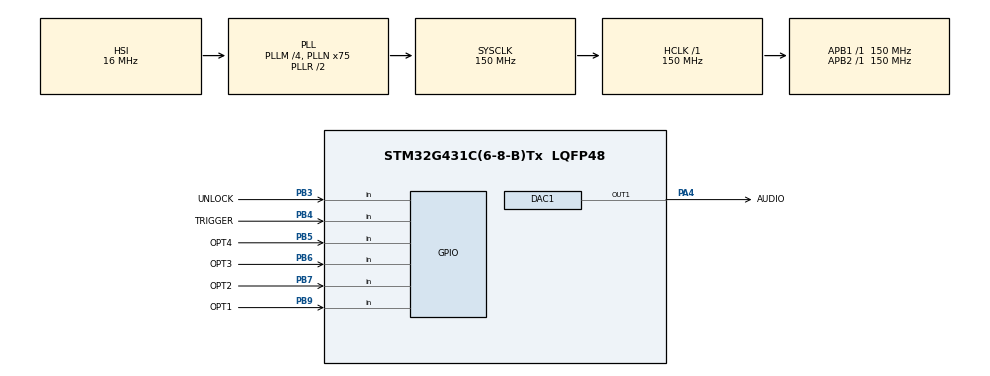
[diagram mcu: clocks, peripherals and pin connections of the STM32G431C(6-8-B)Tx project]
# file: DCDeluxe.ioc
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DAC1.DAC_OutputBuffer-DAC_OUT1=DAC_OUTPUTBUFFER_DISABLE
Mcu.Family=STM32G4
Mcu.Name=STM32G431C(6-8-B)Tx
Mcu.Package=LQFP48
NVIC.PriorityGroup=NVIC_PRIORITYGROUP_4
NVIC.TIM3_IRQn=true\:0\:0\:false\:false\:true\:true\:true\:true
PA13.Mode=Serial_Wire
PA13.Signal=SYS_JTMS-SWDIO
PA14.Mode=Serial_Wire
PA14.Signal=SYS_JTCK-SWCLK
PA4.GPIO_Label=AUDIO
PA4.Signal=COMP_DAC11_group
PB3.GPIO_Label=UNLOCK
PB3.GPIO_PuPd=GPIO_PULLDOWN
PB3.Signal=GPIO_Input
PB4.GPIO_Label=TRIGGER
PB4.GPIO_PuPd=GPIO_PULLDOWN
PB4.Signal=GPIO_Input
PB5.GPIO_Label=OPT4
PB5.GPIO_PuPd=GPIO_PULLDOWN
PB5.Signal=GPIO_Input
PB6.GPIO_Label=OPT3
PB6.GPIO_PuPd=GPIO_PULLDOWN
PB6.Signal=GPIO_Input
PB7.GPIO_Label=OPT2
PB7.GPIO_PuPd=GPIO_PULLDOWN
PB7.Signal=GPIO_Input
PB9.GPIO_Label=OPT1
PB9.GPIO_PuPd=GPIO_PULLDOWN
PB9.Signal=GPIO_Input
ProjectManager.HeapSize=0x200
ProjectManager.StackSize=0x400
ProjectManager.TargetToolchain=EWARM V8.50
RCC.ADC12Freq_Value=150000000
RCC.AHBFreq_Value=150000000
RCC.APB1Freq_Value=150000000
RCC.APB1TimFreq_Value=150000000
RCC.APB2Freq_Value=150000000
RCC.APB2TimFreq_Value=150000000
RCC.CortexFreq_Value=150000000
RCC.EXTERNAL_CLOCK_VALUE=12288000
RCC.HCLKFreq_Value=150000000
RCC.HSE_VALUE=8000000
RCC.HSI48_VALUE=48000000
RCC.HSI_VALUE=16000000
RCC.LSE_VALUE=32768
RCC.PLLM=RCC_PLLM_DIV4
RCC.PLLN=75
RCC.SYSCLKFreq_VALUE=150000000
RCC.SYSCLKSource=RCC_SYSCLKSOURCE_PLLCLK
RCC.USBFreq_Value=150000000
RCC.VCOOutputFreq_Value=300000000
SH.COMP_DAC11_group.0=DAC1_OUT1,DAC_OUT1
TIM3.AutoReloadPreload=TIM_AUTORELOAD_PRELOAD_ENABLE
TIM3.PeriodNoDither=SAMPLE_DELAY
TIM3.Prescaler=15-1
TIM3.TIM_MasterOutputTrigger=TIM_TRGO_RESET
VP_SYS_VS_DBSignals.Mode=DisableDeadBatterySignals
VP_TIM3_VS_ClockSourceINT.Mode=Internal
board=custom

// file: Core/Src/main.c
/* USER CODE BEGIN Header */

/*  DCDeluxe, A door chime based on the STM32.
.
    Copyright (C) 2024 Jennifer Gunn (JennyDigital).

	jennifer.a.gunn@outlook.com

    This software/hardware combination is free and open;
    you can redistribute it and/or
    modify it under the terms of the GNU Lesser General Public
    License as published by the Free Software Foundation; either
    version 2.1 of the License, or (at your option) any later version.

    This library is distributed in the hope that it will be useful,
    but WITHOUT ANY WARRANTY; without even the implied warranty of
    MERCHANTABILITY or FITNESS FOR A PARTICULAR PURPOSE.  See the GNU
    Lesser General Public License for more details.

    You should have received a copy of the GNU Lesser General Public
    License along with this library; if not, write to the Free Software
    Foundation, Inc., 51 Franklin Street, Fifth Floor, Boston, MA  02110-1301
    USA
*/
/* USER CODE END Header */
#include "main.h"
#include "dac.h"
#include "tim.h"
#include "gpio.h"

/* USER CODE BEGIN Includes */
#include "configuration.h"
#include "notes.h"
#include "scores.h"

/* USER CODE END Includes */

/* USER CODE BEGIN PD */

#define WAVETABLE_SZ  16384U
#define SAMPLE_FREQ   ( 150000000.0 / 15.0 / 120.0 )

/* USER CODE END PD */

/* USER CODE BEGIN PV */

// The instantaneous wave state.
            uint16_t        wv                    = 2048;

// The instantaneous phase of each wave.  This is an example of phase accumulators.
volatile    uint16_t        ph1                   = 0,
                            ph2                   = 0,
                            ph3                   = 0;

// Decay rate in steps for each wave's volume.  Higher values mean faster decay.
volatile    uint16_t        note_dec_step         = DECAY_COUNTS;

// Each channel has an associated volume, this is where the current volume is stored.
volatile    int16_t         amp1                  = 0,
                            amp2                  = 0,
                            amp3                  = 0;

// Engine is either playing or has completed.  This is the flag.
            uint8_t         playing               = 0;

// DIP switch option value variable.
            uint8_t         option;

// Master volume divider.  Required to avoid clipping. Amplifier overdrive IS allowed,
// ..but you may not like how it sounds.
            float           mvol_divider;

// phase accumulator steps.  Higher means higher frequencies.  It should be noted that
// there are limited samples available and too big  step won't sound nice.
//
// Very high frequecies are possible!
            uint16_t        ph1_step              = PH1_STEP_DEFAULT,
                            ph2_step              = PH2_STEP_DEFAULT,
                            ph3_step              = PH3_STEP_DEFAULT;

// per-channel drop rates for volume (presets applied)
//
            uint8_t         droprate_ch1          = DROP_RATE,
                            droprate_ch2          = DROP_RATE,
                            droprate_ch3          = DROP_RATE;

// one wants to know when an event should happen, and I don't want a full OS just for this
// therefore there is are simple counters and flag.
volatile    uint32_t        systick_counter       = 0,
                            event_delay           = 0;
volatile    uint8_t         systick_timeout       = 0;

// The wave array is stored as a const int16_t in wave.h, included here.
#include "wave.h"

// Debug variable(s)
#ifdef PEAK_CAPTURE
            uint16_t        peak = 2048;
#endif

/* USER CODE END PV */

void SystemClock_Config(void);

/* USER CODE BEGIN PFP */

__weak  void      eventTimoutCallback           ( void );
        void      HAL_IncTick                   ( void );
        void      HAL_TIM_PeriodElapsedCallback ( TIM_HandleTypeDef *htim );
        void      StartTimer                    ( void );
        uint8_t   readOption                    ( void );
        void      shiftToDACCenter              ( void );
        void      playNote                      ( uint8_t ch,
                                                  float   freq_hz,
                                                  uint8_t dec_rate,
                                                  uint16_t ch_vol
                                                );
        uint16_t  bpm_to_ms                     ( uint16_t bpm );
        void      playScore                     ( float * sc_to_play );

/* USER CODE END PFP */

int main(void)
{

  /* MCU Configuration--------------------------------------------------------*/

  /* Reset of all peripherals, Initializes the Flash interface and the Systick. */
  HAL_Init();

  /* Configure the system clock */
  SystemClock_Config();

  /* Initialize all configured peripherals */
  MX_GPIO_Init();
  MX_DAC1_Init();
  MX_TIM3_Init();

  /* USER CODE BEGIN 2 */

  HAL_DAC_SetValue( &hdac1, DAC_CHANNEL_1, DAC_ALIGN_12B_R, 2047 );
  HAL_Delay( 750 );
  HAL_DAC_Start( &hdac1, DAC_CHANNEL_1 );

  /* USER CODE END 2 */

  /* Infinite loop */
  while (1)
  {

    /* USER CODE BEGIN 3 */

    // Get option selection.
    //
    option = readOption();

    StartTimer();

    switch( option )
    {
    case 0:                 // Single note
      mvol_divider = 2.25;

      playNote( 1,  nE5 , 2, 1024 );
      break;

    case 1:                 // Two notes descending
      mvol_divider = 2.25;

      playNote( 1, nE5, 2, 1024 );
      HAL_Delay( 680 );
      playNote( 2, nC5, 2, 1024 );
      break;

    case 2:                 // Tri-tone descending
      mvol_divider = 2.25;

      playNote( 1, nE5, 2, 1024 );
      HAL_Delay( 680 );
      playNote( 2, nC5, 2, 1024 );
      HAL_Delay( 680 );
      playNote( 3, nG4, 2, 1024 );
      break;

    case 3:                 // Tri-tone ascending
      mvol_divider = 2.25;

      playNote( 1, nG4, 2, 1024 );
      HAL_Delay( 680 );
      playNote( 2, nC5, 2, 1024 );
      HAL_Delay( 680 );
      playNote( 3, nE5, 2, 1024 );
      break;

    case 4:                 // Musical score 1
      mvol_divider = 2.5;

      playScore( (float *) scale4 );
      break;

    case 5:
      mvol_divider = 2.25;

      for( uint8_t rattle = 0; rattle < 30; rattle++ )
      {
        playNote( 1, nG5, 15, 1024 );
        HAL_Delay( 70 );
        playNote( 2, nD5, 15, 1024 );
        HAL_Delay( 70 );
      }
    }
    // Wait for end.
    //
    while( amp1 + amp2 + amp3 );
    playing = 0;

    // Reset DAC
    //
    shiftToDACCenter();

#ifndef  TEST_CYCLING_SET
    // Wait for button to be pressed and released
    //
    // The system is also reset, to prevent minor soft errors from accumulating.  This is after all left on
    // for possibly years at a time.  Note also that we don't use that solution in test cycling or debug mode.
    //
    while( !HAL_GPIO_ReadPin( TRIGGER_GPIO_Port, TRIGGER_Pin ) );
#ifndef DEBUG_MODE
    HAL_NVIC_SystemReset();
#endif
#endif

    // Reset the phase accumulators, only necessary in DEBUG_MODE
    //
    ph1 = ph2 = ph3 = 0;
  }

  /* USER CODE END 3 */
}

void SystemClock_Config(void)
{
  RCC_OscInitTypeDef RCC_OscInitStruct = {0};
  RCC_ClkInitTypeDef RCC_ClkInitStruct = {0};

  /** Configure the main internal regulator output voltage
  */
  HAL_PWREx_ControlVoltageScaling( PWR_REGULATOR_VOLTAGE_SCALE1 );

  /** Initializes the RCC Oscillators according to the specified parameters
  * in the RCC_OscInitTypeDef structure.
  */
  RCC_OscInitStruct.OscillatorType        = RCC_OSCILLATORTYPE_HSI;
  RCC_OscInitStruct.HSIState              = RCC_HSI_ON;
  RCC_OscInitStruct.HSICalibrationValue   = RCC_HSICALIBRATION_DEFAULT;
  RCC_OscInitStruct.PLL.PLLState          = RCC_PLL_ON;
  RCC_OscInitStruct.PLL.PLLSource         = RCC_PLLSOURCE_HSI;
  RCC_OscInitStruct.PLL.PLLM              = RCC_PLLM_DIV4;
  RCC_OscInitStruct.PLL.PLLN              = 75;
  RCC_OscInitStruct.PLL.PLLP              = RCC_PLLP_DIV2;
  RCC_OscInitStruct.PLL.PLLQ              = RCC_PLLQ_DIV2;
  RCC_OscInitStruct.PLL.PLLR              = RCC_PLLR_DIV2;

  if( HAL_RCC_OscConfig( &RCC_OscInitStruct ) != HAL_OK )
  {
    Error_Handler();
  }

  /** Initializes the CPU, AHB and APB buses clocks
  */
  RCC_ClkInitStruct.ClockType       = RCC_CLOCKTYPE_HCLK | RCC_CLOCKTYPE_SYSCLK
                                    | RCC_CLOCKTYPE_PCLK1 | RCC_CLOCKTYPE_PCLK2;
  RCC_ClkInitStruct.SYSCLKSource    = RCC_SYSCLKSOURCE_PLLCLK;
  RCC_ClkInitStruct.AHBCLKDivider   = RCC_SYSCLK_DIV1;
  RCC_ClkInitStruct.APB1CLKDivider  = RCC_HCLK_DIV1;
  RCC_ClkInitStruct.APB2CLKDivider  = RCC_HCLK_DIV1;

  if( HAL_RCC_ClockConfig( &RCC_ClkInitStruct, FLASH_LATENCY_4 ) != HAL_OK )
  {
    Error_Handler();
  }
}

/* USER CODE BEGIN 4 */

/** Event delay callback function.
  *
  */
__weak void eventTimoutCallback( void )
{

}

/** Updates the uwTick variable and updates the systick_counter if not already 0.
  *
  * Overrides the '__weak' version in the HAL.
  *
  * @param none
  * @retval none
  */
void HAL_IncTick(void)
{
  uwTick += uwTickFreq;

  if( systick_counter ) systick_counter--;
  if( event_delay ) event_delay--;

  if( !systick_counter )
  {
    // Handle volume decay
    //
    if( amp1 ) amp1 -= droprate_ch1;
    if( amp2 ) amp2 -= droprate_ch2;
    if( amp3 ) amp3 -= droprate_ch3;
    if( amp1 <= CUTOFF_POINT )  amp1 = 0;
    if( amp2 <= CUTOFF_POINT )  amp2 = 0;
    if( amp3 <= CUTOFF_POINT )  amp3 = 0;
    systick_timeout = 1;
    systick_counter = note_dec_step;
  }

  if( !event_delay )
  {
      eventTimoutCallback();
  }
}

/** Callback servicing timer interrupts. Overrides the HAL '__weak' version.
  *
  * Only handles interrupts from timer 3 at present, but addind support
  * for other timers is trivial.
  *
  * @param *htim
  * @retval none
  */
void HAL_TIM_PeriodElapsedCallback(TIM_HandleTypeDef *htim)
{
  /* Prevent unused argument(s) compilation warning */
  UNUSED(htim);
  HAL_DAC_SetValue( &hdac1, DAC_CHANNEL_1, DAC_ALIGN_12B_R, wv );
  if( htim !=&htim3 ) return;

   if( playing )
    {
      ph1 += ph1_step;        // Increment phase accumulator for note 1
      ph1 %= WAVETABLE_SZ;

      ph2 += ph2_step;        // Increment phase accumulator for note 2
      ph2 %= WAVETABLE_SZ;

      ph3 += ph3_step;        // Increment phase accumulator for note 3
      ph3 %= WAVETABLE_SZ;

// Below is a complex mess of casting to attempt to improve the audio.
// ...this may be misguided!
      wv = (int16_t)          // Create composite waveform, and yes, the DAC does have a signed
          (                   // mode, but this code should port to other platforms too.
            ( (int32_t) wave[ ph1 ] * amp1 / 1024 )
              +
            ( (int32_t) wave[ ph2 ] * amp2 / 1024 )
              +
            ( (int32_t) wave[ ph3 ] * amp3  / 1024 )
          ) / 4 / mvol_divider + 2048;

#ifdef PEAK_CAPTURE
      if( wv > peak ) peak = wv;
#endif
    }
}

/** Starts both the timer, and interrupts from it.
  *
  * @param: none
  * @retval: none
  */
void StartTimer( void )
{
  HAL_TIM_Base_Start_IT( &htim3 );
  HAL_TIM_Base_Start( &htim3 );
}

/** Reads the option switches
  *
  * @param none
  * @retval option value 0..15.
  */
uint8_t readOption( void )
{
  uint8_t opt_read = 0;

  opt_read  = HAL_GPIO_ReadPin( OPT1_GPIO_Port, OPT1_Pin );
  opt_read |= HAL_GPIO_ReadPin( OPT2_GPIO_Port, OPT2_Pin ) << 1;
  opt_read |= HAL_GPIO_ReadPin( OPT3_GPIO_Port, OPT3_Pin ) << 2;
  opt_read |= HAL_GPIO_ReadPin( OPT4_GPIO_Port, OPT4_Pin ) << 3;

  return opt_read;
}

/** Softly move to centere point gracefully.  This avoids pops.
  *
  * @param none
  * @retval none
  *
  */
  void shiftToDACCenter( void )
  {
    char dir = 0;

    if( wv < 2048 ) dir = 1;
    if( wv > 2048 ) dir = -1;
    if( wv == 2048 ) return;

    for( ; wv != 2048; )
    {
      if( dir == 1 ) wv++;
      else wv--;

      HAL_DAC_SetValue( &hdac1, DAC_CHANNEL_1, DAC_ALIGN_12B_R, wv );
    }
  }

/** Play a note
  *
  * @param ch:        the channel to play.
  * @param freq_hz:   The frequency of the note.
  * @param dec_rate:  Decay rate of the note.
  * @param ch_volume: Volume of note at initial strike.
  * @retval none.
  */
void    playNote( uint8_t ch,
                  float freq_hz,
                  uint8_t dec_rate,
                  uint16_t ch_vol
                )
{
  uint16_t ph_step;

  playing = 1;
  ph_step = freq_hz / ( SAMPLE_FREQ / WAVETABLE_SZ );

#ifdef PRINT_SCORE
  debug_printf( "%u, %f, %u\n\r", ch, freq_hz, ch_vol );
#endif
  switch( ch )
  {
    case 1:   // Channel 1
      ph1_step = ph_step;
      ph1 = 0;
      droprate_ch1 = dec_rate;
      amp1 = ch_vol;
    break;

    case 2:   // Channel 2
      ph2_step = ph_step;
      ph2 = 0;
      droprate_ch2 = dec_rate;
      amp2 = ch_vol;
    break;

    case 3:   // Channel 3
      ph3_step = ph_step;
      ph3=0;
      droprate_ch3 = dec_rate;
      amp3 = ch_vol;
    break;

    default:
  }
}

/** BPM to ms conversion function
  *
  * @param  bpm
  * @retval ms
  */
uint16_t bpm_to_ms( uint16_t bpm )
{
  #define ONE_MINUTE 60000U     // 1 minute in ms

  return ONE_MINUTE / bpm;
}

void playScore( float *sc_to_play )
{
  uint16_t  score_pointer = 1;
  int beat = bpm_to_ms( sc_to_play[ 1 ] );  // notes per bar = 4
  uint8_t droprate = sc_to_play[2];

  mvol_divider = sc_to_play[ 0 ];

  while( sc_to_play[ score_pointer * 3 + 1 ] != END_PLAY )
  {

    playNote( (uint8_t) sc_to_play[ score_pointer * 3 ],
              sc_to_play[score_pointer * 3 + 1],
              droprate, 1024 );
    HAL_Delay( beat * sc_to_play[ score_pointer * 3 + 2 ] );

    score_pointer++;
  }
}
/* USER CODE END 4 */

void Error_Handler( void )
{
  __disable_irq();
  while( 1 )
  {
  }
}
